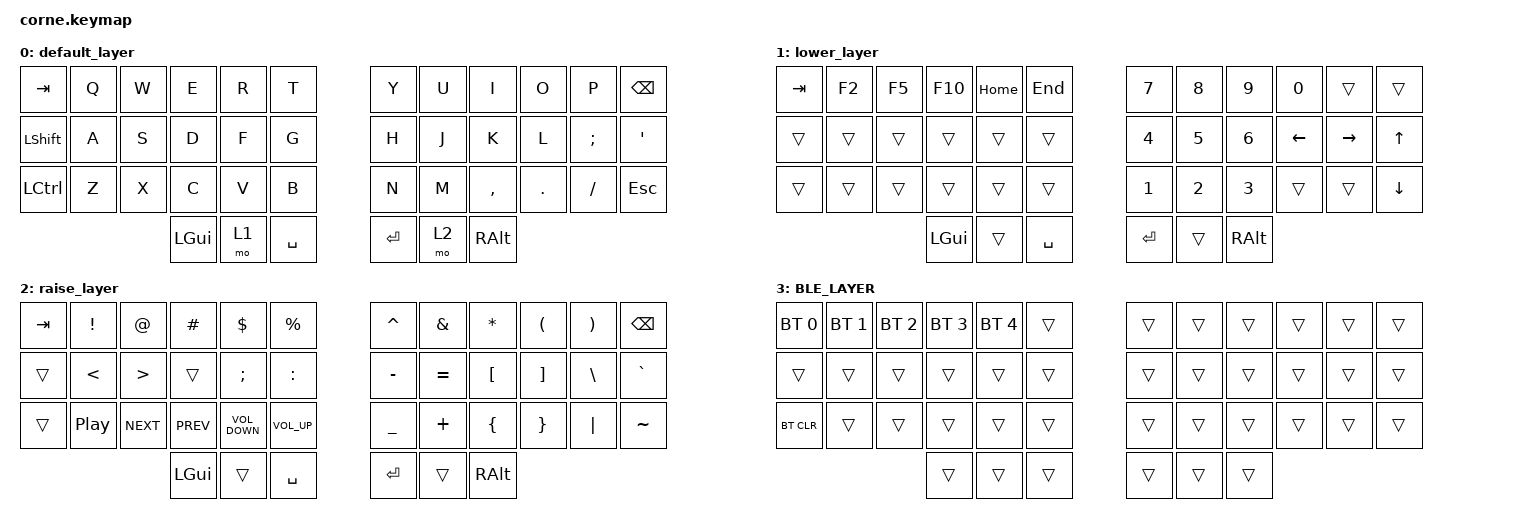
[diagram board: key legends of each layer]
/*
 * Copyright (c) 2020 The ZMK Contributors
 *
 * SPDX-License-Identifier: MIT
 */

#include <behaviors.dtsi>
#include <dt-bindings/zmk/bt.h>
#include <dt-bindings/zmk/keys.h>

/ {
    combos {
        compatible = "zmk,combos";

        MomentaryBLE {
            bindings = <&mo 3>;
            key-positions = <37 40>;
            slow-release;
        };
    };

    keymap {
        compatible = "zmk,keymap";

        default_layer {
            // -----------------------------------------------------------------------------------------
            // |  TAB |  Q  |  W  |  E  |  R  |  T  |   |  Y  |  U   |  I  |  O  |  P  | BKSP |
            // | CTRL |  A  |  S  |  D  |  F  |  G  |   |  H  |  J   |  K  |  L  |  ;  |  '   |
            // | SHFT |  Z  |  X  |  C  |  V  |  B  |   |  N  |  M   |  ,  |  .  |  /  | ESC  |
            //                    | GUI | LWR | SPC |   | ENT | RSE  | ALT |

            bindings = <
&kp TAB           &kp Q  &kp W  &kp E     &kp R  &kp T        &kp Y    &kp U  &kp I      &kp O    &kp P     &kp BSPC
&kp LEFT_SHIFT    &kp A  &kp S  &kp D     &kp F  &kp G        &kp H    &kp J  &kp K      &kp L    &kp SEMI  &kp SQT
&kp LEFT_CONTROL  &kp Z  &kp X  &kp C     &kp V  &kp B        &kp N    &kp M  &kp COMMA  &kp DOT  &kp FSLH  &kp ESC
                                &kp LGUI  &mo 1  &kp SPACE    &kp RET  &mo 2  &kp RALT
            >;
        };

        lower_layer {
            // -----------------------------------------------------------------------------------------
            // |  TAB |  1  |  2  |  3  |  4  |  5  |   |  6  |  7  |  8  |  9  |  0  | BKSP |
            // | BTCLR| BT1 | BT2 | BT3 | BT4 | BT5 |   | LFT | DWN |  UP | RGT |     |      |
            // | SHFT |     |     |     |     |     |   |     |     |     |     |     |      |
            //                    | GUI |     | SPC |   | ENT |     | ALT |

            bindings = <
&kp TAB  &kp F2  &kp F5  &kp F10   &kp HOME  &kp END      &kp N7   &kp N8  &kp N9    &kp N0          &trans           &trans
&trans   &trans  &trans  &trans    &trans    &trans       &kp N4   &kp N5  &kp N6    &kp LEFT_ARROW  &kp RIGHT_ARROW  &kp UP_ARROW
&trans   &trans  &trans  &trans    &trans    &trans       &kp N1   &kp N2  &kp N3    &trans          &trans           &kp DOWN
                         &kp LGUI  &trans    &kp SPACE    &kp RET  &trans  &kp RALT
            >;
        };

        raise_layer {
            // -----------------------------------------------------------------------------------------
            // |  TAB |  !  |  @  |  #  |  $  |  %  |   |  ^  |  &  |  *  |  (  |  )  | BKSP |
            // | CTRL |     |     |     |     |     |   |  -  |  =  |  [  |  ]  |  \  |  `   |
            // | SHFT |     |     |     |     |     |   |  _  |  +  |  {  |  }  | "|" |  ~   |
            //                    | GUI |     | SPC |   | ENT |     | ALT |

            bindings = <
&kp TAB  &kp EXCL  &kp AT      &kp HASH    &kp DLLR           &kp PRCNT          &kp CARET  &kp AMPS   &kp ASTRK  &kp LPAR  &kp RPAR  &kp BSPC
&trans   &kp LT    &kp GT      &trans      &kp SEMI           &kp COLON          &kp MINUS  &kp EQUAL  &kp LBKT   &kp RBKT  &kp BSLH  &kp GRAVE
&trans   &kp C_PP  &kp C_NEXT  &kp C_PREV  &kp C_VOLUME_DOWN  &kp C_VOLUME_UP    &kp UNDER  &kp PLUS   &kp LBRC   &kp RBRC  &kp PIPE  &kp TILDE
                               &kp LGUI    &trans             &kp SPACE          &kp RET    &trans     &kp RALT
            >;
        };

        BLE_LAYER {
            bindings = <
&bt BT_SEL 0  &bt BT_SEL 1  &bt BT_SEL 2  &bt BT_SEL 3  &bt BT_SEL 4  &trans    &trans  &trans  &trans  &trans  &trans  &trans
&trans        &trans        &trans        &trans        &trans        &trans    &trans  &trans  &trans  &trans  &trans  &trans
&bt BT_CLR    &trans        &trans        &trans        &trans        &trans    &trans  &trans  &trans  &trans  &trans  &trans
                                          &trans        &trans        &trans    &trans  &trans  &trans
            >;
        };
    };
};
